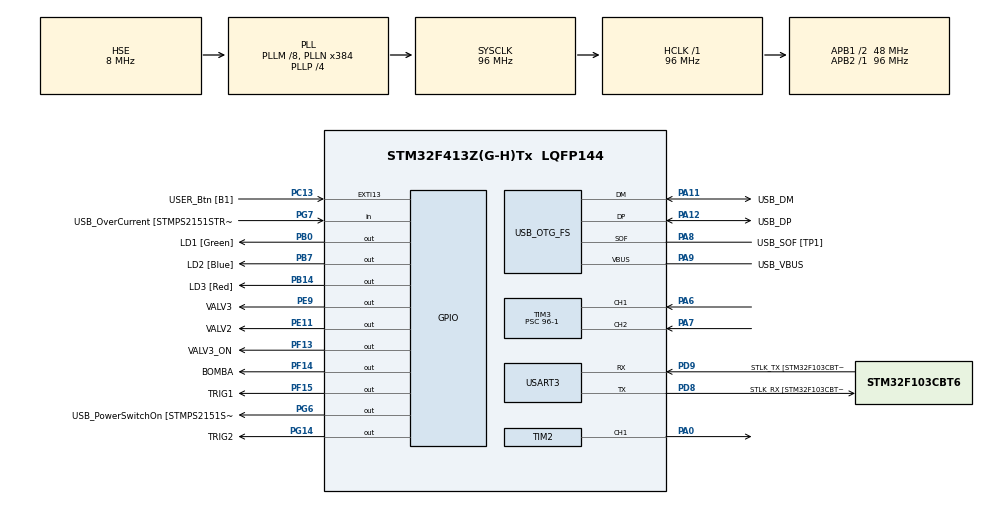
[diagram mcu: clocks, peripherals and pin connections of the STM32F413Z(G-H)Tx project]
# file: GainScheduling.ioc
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Dma.Request0=USART3_RX
Dma.Request1=USART3_TX
Dma.USART3_RX.0.Direction=DMA_PERIPH_TO_MEMORY
Dma.USART3_RX.0.FIFOMode=DMA_FIFOMODE_DISABLE
Dma.USART3_RX.0.Instance=DMA1_Stream1
Dma.USART3_RX.0.MemDataAlignment=DMA_MDATAALIGN_BYTE
Dma.USART3_RX.0.MemInc=DMA_MINC_ENABLE
Dma.USART3_RX.0.Mode=DMA_NORMAL
Dma.USART3_RX.0.PeriphDataAlignment=DMA_PDATAALIGN_BYTE
Dma.USART3_RX.0.PeriphInc=DMA_PINC_DISABLE
Dma.USART3_RX.0.Priority=DMA_PRIORITY_LOW
Dma.USART3_TX.1.Direction=DMA_MEMORY_TO_PERIPH
Dma.USART3_TX.1.FIFOMode=DMA_FIFOMODE_DISABLE
Dma.USART3_TX.1.Instance=DMA1_Stream3
Dma.USART3_TX.1.MemDataAlignment=DMA_MDATAALIGN_BYTE
Dma.USART3_TX.1.MemInc=DMA_MINC_ENABLE
Dma.USART3_TX.1.Mode=DMA_NORMAL
Dma.USART3_TX.1.PeriphDataAlignment=DMA_PDATAALIGN_BYTE
Dma.USART3_TX.1.PeriphInc=DMA_PINC_DISABLE
Dma.USART3_TX.1.Priority=DMA_PRIORITY_LOW
Mcu.Family=STM32F4
Mcu.Name=STM32F413Z(G-H)Tx
Mcu.Package=LQFP144
NVIC.DMA1_Stream1_IRQn=true\:0\:0\:false\:false\:true\:false\:true\:true
NVIC.DMA1_Stream3_IRQn=true\:0\:0\:false\:false\:true\:false\:true\:true
NVIC.PriorityGroup=NVIC_PRIORITYGROUP_4
NVIC.TIM3_IRQn=true\:0\:0\:false\:false\:true\:true\:true\:true
NVIC.USART3_IRQn=true\:0\:0\:false\:false\:true\:true\:true\:true
PA0.Signal=S_TIM2_CH1_ETR
PA10.GPIO_Label=USB_ID
PA10.Signal=USB_OTG_FS_ID
PA11.GPIO_Label=USB_DM
PA11.Mode=Device_Only
PA11.Signal=USB_OTG_FS_DM
PA12.GPIO_Label=USB_DP
PA12.Mode=Device_Only
PA12.Signal=USB_OTG_FS_DP
PA13.GPIO_Label=TMS
PA13.Mode=Serial_Wire
PA13.Signal=SYS_JTMS-SWDIO
PA14.GPIO_Label=TCK
PA14.Mode=Serial_Wire
PA14.Signal=SYS_JTCK-SWCLK
PA6.Signal=S_TIM3_CH1
PA7.Signal=S_TIM3_CH2
PA8.GPIO_Label=USB_SOF [TP1]
PA8.Mode=Activate_SOF_FS
PA8.Signal=USB_OTG_FS_SOF
PA9.GPIO_Label=USB_VBUS
PA9.Mode=Activate_VBUS
PA9.Signal=USB_OTG_FS_VBUS
PB0.GPIO_Label=LD1 [Green]
PB0.Signal=GPIO_Output
PB14.GPIO_Label=LD3 [Red]
PB14.Signal=GPIO_Output
PB3.GPIO_Label=SWO
PB3.Signal=SYS_JTDO-SWO
PB7.GPIO_Label=LD2 [Blue]
PB7.Signal=GPIO_Output
PC13.GPIO_Label=USER_Btn [B1]
PC13.Signal=GPXTI13
PC14-OSC32_IN.Mode=LSE-External-Oscillator
PC14-OSC32_IN.Signal=RCC_OSC32_IN
PC15-OSC32_OUT.Mode=LSE-External-Oscillator
PC15-OSC32_OUT.Signal=RCC_OSC32_OUT
PD8.GPIO_Label=STLK_RX [STM32F103CBT6_PA3]
PD8.Mode=Asynchronous
PD8.Signal=USART3_TX
PD9.GPIO_Label=STLK_TX [STM32F103CBT6_PA2]
PD9.Mode=Asynchronous
PD9.Signal=USART3_RX
PE11.GPIO_Label=VALV2
PE11.Signal=GPIO_Output
PE9.GPIO_Label=VALV3
PE9.Signal=GPIO_Output
PF13.GPIO_Label=VALV3_ON
PF13.Signal=GPIO_Output
PF14.GPIO_Label=BOMBA
PF14.Signal=GPIO_Output
PF15.GPIO_Label=TRIG1
PF15.Signal=GPIO_Output
PG14.GPIO_Label=TRIG2
PG14.Signal=GPIO_Output
PG6.GPIO_Label=USB_PowerSwitchOn [STMPS2151STR_EN]
PG6.Signal=GPIO_Output
PG7.GPIO_Label=USB_OverCurrent [STMPS2151STR_FAULT]
PG7.Signal=GPIO_Input
PH0\ -\ OSC_IN.GPIO_Label=MCO
PH0\ -\ OSC_IN.Mode=HSE-External-Clock-Source
PH0\ -\ OSC_IN.Signal=RCC_OSC_IN
PH1\ -\ OSC_OUT.Mode=HSE-External-Clock-Source
PH1\ -\ OSC_OUT.Signal=RCC_OSC_OUT
ProjectManager.HeapSize=0x200
ProjectManager.StackSize=0x400
ProjectManager.TargetToolchain=STM32CubeIDE
RCC.48MHZClocksFreq_Value=24000000
RCC.AHBFreq_Value=96000000
RCC.APB1CLKDivider=RCC_HCLK_DIV2
RCC.APB1Freq_Value=48000000
RCC.APB1TimFreq_Value=96000000
RCC.APB2Freq_Value=96000000
RCC.APB2TimFreq_Value=96000000
RCC.CortexFreq_Value=96000000
RCC.HCLKFreq_Value=96000000
RCC.HSE_VALUE=8000000
RCC.HSI_VALUE=16000000
RCC.PLLM=8
RCC.PLLMUL=RCC_PLL_MUL9
RCC.PLLN=384
RCC.PLLP=RCC_PLLP_DIV4
RCC.PLLQ=8
RCC.PRESCALERUSB=RCC_USBCLKSOURCE_PLL_DIV1_5
RCC.SYSCLKFreq_VALUE=96000000
RCC.SYSCLKSource=RCC_SYSCLKSOURCE_PLLCLK
RCC.SYSCLKSourceVirtual=RCC_SYSCLKSOURCE_PLLCLK
RCC.USBFreq_Value=48000000
RCC.VCOOutputFreq_Value=384000000
SH.S_TIM2_CH1_ETR.0=TIM2_CH1,PWM Generation1 CH1
SH.S_TIM3_CH1.0=TIM3_CH1,Input_Capture1_from_TI1
SH.S_TIM3_CH2.0=TIM3_CH2,Input_Capture2_from_TI2
TIM2.Channel-PWM\ Generation1\ CH1=TIM_CHANNEL_1
TIM2.Period=1000
TIM2.Prescaler=96-1
TIM2.Pulse-PWM\ Generation1\ CH1=500
TIM3.Channel-Input_Capture1_from_TI1=TIM_CHANNEL_1
TIM3.Channel-Input_Capture2_from_TI2=TIM_CHANNEL_2
TIM3.ICFilter_CH1=4
TIM3.ICFilter_CH2=4
TIM3.Prescaler=96-1
USART3.VirtualMode=VM_ASYNC
USB_OTG_FS.VirtualMode=Device_Only
VP_TIM2_VS_ClockSourceINT.Mode=Internal
VP_TIM3_VS_ClockSourceINT.Mode=Internal
board=NUCLEO-F413ZH

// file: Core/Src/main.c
/* USER CODE BEGIN Header */
/**
  ******************************************************************************
  * @file           : main.c
  * @brief          : Main program body
  ******************************************************************************
  * @attention
  *
  * Copyright (c) 2022 STMicroelectronics.
  * All rights reserved.
  *
  * This software is licensed under terms that can be found in the LICENSE file
  * in the root directory of this software component.
  * If no LICENSE file comes with this software, it is provided AS-IS.
  *
  ******************************************************************************
  */
/* USER CODE END Header */
#include "main.h"

/* USER CODE BEGIN Includes */
#include <stdio.h>
#include <stdlib.h>
#include <math.h>
#include <string.h>

#include "process_signal.h"
#include "pid.h"
#include "state_space.h"
#include "fgs_control.h"
#include "simulated_annealing.h"
#include "A_star.h"
/* USER CODE END Includes */

/* USER CODE BEGIN PD */
#define Ts 1
/* USER CODE END PD */

 TIM_HandleTypeDef htim2;
TIM_HandleTypeDef htim3;

UART_HandleTypeDef huart3;
DMA_HandleTypeDef hdma_usart3_rx;
DMA_HandleTypeDef hdma_usart3_tx;

PCD_HandleTypeDef hpcd_USB_OTG_FS;

/* USER CODE BEGIN PV */
float distancia1 , distancia2;									  // Distance

uint32_t IC1_Val1 = 0, IC2_Val1 = 0; // Input Capture Value1 Channel1 y 2
uint32_t IC1_Val2 = 0, IC2_Val2 = 0; // Input Capture  Value2 Channel1 y 2
uint32_t Difference1 = 0, Difference2 = 0;
uint8_t First_Captured1 = 0, First_Captured2 = 0; // is the first value captured ?

State_Space_s ss1;

pid_s pid1;
pid_s pid2;
pid_s pid3;

fgs_s fgs1;
fgs_s fgs2;
fgs_s fgs3;

sa_s sa1;
sa_s sa2;
sa_s sa3;

Astar_s as1;
Astar_s as2;
Astar_s as3;

/* USER CODE END PV */

void SystemClock_Config(void);
static void MX_GPIO_Init(void);
static void MX_USART3_UART_Init(void);
static void MX_DMA_Init(void);
static void MX_USB_OTG_FS_PCD_Init(void);
static void MX_TIM3_Init(void);
static void MX_TIM2_Init(void);
/* USER CODE BEGIN PFP */
void  serial_printf(char *str);
void  HAL_Delay_us(uint16_t Delay);
float HCSR04_Read(int select);
/* USER CODE END PFP */

/* USER CODE BEGIN 0 */
void serial_printf(char *str)
{
	HAL_UART_Transmit_DMA(&huart3, (uint8_t *) str, strlen(str));
	//HAL_Delay(100);
}
// Delay microseconds;
void HAL_Delay_us(uint16_t Delay)
{
	__HAL_TIM_SET_COUNTER(&htim3,0);
	while (__HAL_TIM_GET_COUNTER(&htim3) < Delay);
}
/* USER CODE END 0 */

int main(void)
{
  /* USER CODE BEGIN 1 */
  char tx_buffer[52] = {0};
  int select_algorithm;
  int iter = 0;
  int Ts_ms = 1000*Ts;
  int time_on;
  int time_giro;
  int retardo = 0;
  int vaciar;
  int M1 = 1;
  int M2 = 1;
  int sum_h1 = 0;
  int sum_h2 = 0;
  float h1=0;
  float h2=0;
  float H1 = 0;
  float H2 = 0;
  float interval[2] = {0,1};
  /* USER CODE END 1 */

  /* MCU Configuration--------------------------------------------------------*/

  /* Reset of all peripherals, Initializes the Flash interface and the Systick. */
  HAL_Init();

  /* Configure the system clock */
  SystemClock_Config();

  /* Initialize all configured peripherals */
  MX_GPIO_Init();
  MX_DMA_Init();
  MX_USART3_UART_Init();
  MX_USB_OTG_FS_PCD_Init();
  MX_TIM3_Init();
  MX_TIM2_Init();
  /* USER CODE BEGIN 2 */
  HAL_TIM_IC_Start_IT(&htim3, TIM_CHANNEL_1);
  HAL_TIM_IC_Start_IT(&htim3, TIM_CHANNEL_2);
  HAL_TIM_PWM_Start(&htim2,TIM_CHANNEL_1);

  PID_Init(&pid1,1);
  PID_Init(&pid2,2);
  PID_Init(&pid3,3);

  FGS_Init(&fgs1, 1);
  FGS_Init(&fgs2, 2);
  FGS_Init(&fgs3, 3);

  SA_Init(&sa1,1);
  SA_Init(&sa2,2);
  SA_Init(&sa3,3);

  Astar_Init(&as1, 1);
  Astar_Init(&as2, 2);
  Astar_Init(&as3, 3);
  /* USER CODE END 2 */

  /* Infinite loop */
  /* USER CODE BEGIN WHILE */

  pid1.r = 0.0;
  pid3.r = 0.0;
  pid2.r = pid3.r - pid1.r;

  vaciar = 1;
  select_algorithm = 0;

  float rbajo = 2;
  float ralto = 5;
  float ralto2 = 8;
  int espacio = 140;

  while (1)
  {
	  sa1.r  = pid1.r ;			  sa2.r  = pid2.r ; 	  sa3.r  = pid3.r ;
	  as1.r =  pid1.r ;			  as2.r =  pid2.r ;	      as3.r =  pid3.r ;

	  /*
	  if (iter == 0)   {    pid1.r = rbajo;		pid3.r = rbajo; }
	  if (iter == 20)  {    pid1.r = ralto ;    pid3.r = ralto ; }
	  if (iter == espacio +20) {    pid1.r = rbajo;      pid3.r = rbajo; }
	  if (iter == espacio*2 +20) {    pid1.r = ralto ;      pid3.r = ralto ;  }
	  if (iter == espacio*3 + 20) {    pid1.r = rbajo;      pid3.r = rbajo; }
	  if (iter == espacio*4 +20) {    pid1.r = ralto ;       pid3.r = ralto ;  }
	  if (iter == espacio*5 +20) {    pid1.r = rbajo;       pid3.r = rbajo;  }
	  if (iter == espacio*6 +20) {    pid1.r = ralto ;       pid3.r = ralto ;  }
	  if (iter == espacio*7 +20) {    pid1.r = rbajo;       pid3.r = rbajo;  }
	  if (iter == espacio*8 +20) {    pid1.r = ralto ;       pid3.r = ralto ;  }
	  if (iter == espacio*9 +20) {    pid1.r = rbajo;       pid3.r = rbajo;  }
	  if (iter == espacio*10 +20) {    pid1.r = ralto ;       pid3.r = ralto ;  }
	  if (iter == espacio*11 +20) {    pid1.r = rbajo;       pid3.r = rbajo;  }
	  if (iter == espacio*12 +20) {    pid1.r = ralto ;       pid3.r = ralto ;  }
	  if (iter == espacio*13 +20) {    pid1.r = rbajo;       pid3.r = rbajo;  }
	  if (iter == espacio*14 +20) {    pid1.r = ralto ;       pid3.r = ralto ;  }
	  if (iter == espacio*15 +20) {    pid1.r = rbajo;       pid3.r = rbajo;  }
	  if (iter == espacio*16 +20) {    pid1.r = ralto ;       pid3.r = ralto ;  }
	  if (iter == espacio*17 +20) {    pid1.r = rbajo;       pid3.r = rbajo;  }
	  if (iter == espacio*18 +20) {    pid1.r = ralto ;       pid3.r = ralto ;  }
	  if (iter == espacio*19 +20) {    pid1.r = rbajo;       pid3.r = rbajo;  }
	  if (iter == espacio*20 +20) {    pid1.r = ralto ;       pid3.r = ralto ;  }
	  if (iter == espacio*21 +20) {    pid1.r = rbajo;       pid3.r = rbajo;  }
	  if (iter == espacio*22 +20) {    pid1.r = ralto ;       pid3.r = ralto ;  }

*/
/*
	  if (iter == 0)   {    pid1.r = rbajo;		pid3.r = 0; }
	  if (iter == 20)  {    pid1.r = ralto ;    pid3.r = 0 ; }
	  if (iter == espacio +20) {    pid1.r = rbajo;      pid3.r = 0; }
	  if (iter == espacio*2 +20) {    pid1.r = ralto ;      pid3.r = 0 ;  }
	  if (iter == espacio*3 + 20) {    pid1.r = rbajo;      pid3.r = 0; }
	  if (iter == espacio*4 +20) {    pid1.r = ralto ;       pid3.r = 0 ;  }
	  if (iter == espacio*5 +20) {    pid1.r = rbajo;       pid3.r = 0;  }
	  if (iter == espacio*6 +20) {    pid1.r = ralto ;       pid3.r = 0 ;  }
	  if (iter == espacio*7 +20) {    pid1.r = rbajo;       pid3.r = 0;  }
	  if (iter == espacio*8 +20) {    pid1.r = ralto ;       pid3.r = 0 ;  }
	  if (iter == espacio*9 +20) {    pid1.r = rbajo;       pid3.r = 0;  }
	  if (iter == espacio*10 +20) {    pid1.r = ralto ;       pid3.r = 0 ;  }
	  if (iter == espacio*11 +20) {    pid1.r = rbajo;       pid3.r = 0;  }
	  if (iter == espacio*12 +20) {    pid1.r = ralto ;       pid3.r = 0 ;  }
	  if (iter == espacio*13 +20) {    pid1.r = rbajo;       pid3.r = 0;  }
	  if (iter == espacio*14 +20) {    pid1.r = ralto ;       pid3.r = 0 ;  }
	  if (iter == espacio*15 +20) {    pid1.r = rbajo;       pid3.r =0;  }
	  if (iter == espacio*16 +20) {    pid1.r = ralto ;       pid3.r = 0 ;  }
	  if (iter == espacio*17 +20) {    pid1.r = rbajo;       pid3.r = 0;  }
	  if (iter == espacio*18 +20) {    pid1.r = ralto ;       pid3.r = 0 ;  }
	  if (iter == espacio*19 +20) {    pid1.r = rbajo;       pid3.r = 0;  }
	  if (iter == espacio*20 +20) {    pid1.r = ralto ;       pid3.r = 0 ;  }
	  if (iter == espacio*21 +20) {    pid1.r = rbajo;       pid3.r = 0;  }
	  if (iter == espacio*22 +20) {    pid1.r = ralto ;       pid3.r = 0 ;  }

*/
	  if (iter == 0)         	{    pid1.r = ralto2;		pid3.r = rbajo; }
	  if (iter == 20)  			{    pid1.r = ralto2 ;    pid3.r = ralto ; }
	  if (iter == espacio +20)	 {    pid1.r = ralto2;      pid3.r = rbajo; }
	  if (iter == espacio*2 +20) {    pid1.r = ralto2;      pid3.r = ralto ;  }
	  if (iter == espacio*3 + 20) {    pid1.r = ralto2;      pid3.r = rbajo; }
	  if (iter == espacio*4 +20) {    pid1.r = ralto2;       pid3.r = ralto ;  }
	  if (iter == espacio*5 +20) {    pid1.r = ralto2;       pid3.r = rbajo;  }
	  if (iter == espacio*6 +20) {    pid1.r = ralto2;       pid3.r = ralto ;  }
	  if (iter == espacio*7 +20) {    pid1.r = ralto2;       pid3.r = rbajo;  }
	  if (iter == espacio*8 +20) {    pid1.r = ralto2;       pid3.r = ralto ;  }
	  if (iter == espacio*9 +20) {    pid1.r = ralto2;       pid3.r = rbajo;  }
	  if (iter == espacio*10 +20) {    pid1.r = ralto2;       pid3.r = ralto ;  }
	  if (iter == espacio*11 +20) {    pid1.r = ralto2;       pid3.r = rbajo;  }
	  if (iter == espacio*12 +20) {    pid1.r = ralto2;       pid3.r = ralto ;  }
	  if (iter == espacio*13 +20) {    pid1.r = ralto2;       pid3.r = rbajo;  }
	  if (iter == espacio*14 +20) {    pid1.r = ralto2;       pid3.r = ralto ;  }
	  if (iter == espacio*15 +20) {    pid1.r = ralto2;       pid3.r = rbajo;  }
	  if (iter == espacio*16 +20) {    pid1.r = ralto2;       pid3.r = ralto ;  }
	  if (iter == espacio*17 +20) {    pid1.r = ralto2;       pid3.r = rbajo;  }
	  if (iter == espacio*18 +20) {    pid1.r = ralto2;       pid3.r = ralto ;  }
	  if (iter == espacio*19 +20) {    pid1.r = ralto2;       pid3.r = rbajo;  }
	  if (iter == espacio*20 +20) {    pid1.r = ralto2;       pid3.r = ralto ;  }
	  if (iter == espacio*21 +20) {    pid1.r = ralto2;       pid3.r = rbajo;  }
	  if (iter == espacio*22 +20) {    pid1.r = ralto2;       pid3.r = ralto ;  }

	  pid2.r = pid3.r-pid1.r;

	  if (iter == 20){sa1.iniciar = 1; sa2.iniciar = 1; sa3.iniciar = 1;}

	  if ( ( (fabs(sa3.r - pid3.r)>0) || (fabs(as3.r - pid3.r)>0) ) && iter != 20 && iter != 0)
	  {
		  /*
		  sa1.r  = ralto;			  sa2.r  = 0 ; 	  sa3.r  = ralto;
		  as1.r =  ralto;			  as2.r =  0 ;	  as3.r =  ralto;
		  */
		  sa1.enable = 1;	sa2.enable = 1;		sa3.enable = 1;
		  as1.enable = 1;	as2.enable = 1;		as3.enable = 1;
	  }

	  if ( vaciar == 1) {
		  	htim2.Instance -> CCR1 = 0;
			HAL_GPIO_WritePin(VALV3_ON_GPIO_Port, VALV3_ON_Pin,GPIO_PIN_SET);
			HAL_GPIO_WritePin(VALV3_GPIO_Port, VALV3_Pin, GPIO_PIN_SET);
			HAL_GPIO_WritePin( BOMBA_GPIO_Port, BOMBA_Pin, GPIO_PIN_RESET);
			HAL_GPIO_WritePin(VALV2_GPIO_Port, VALV2_Pin,GPIO_PIN_RESET);
			int time_vaciar = 0;
			while (time_vaciar < 10000)
			{
				if (time_vaciar % 100 == 0)
				{
					h2 = 25.5 - HCSR04_Read(2);
					h1 = 25.3 - HCSR04_Read(1);
					sprintf(tx_buffer,"%0.2f %0.2f %0.1f %0.1f %0.1f %0.1f %0.1f\r\n",h1, h2, pid1.r, pid3.r,pid1.u, pid2.u,pid3.u);
					serial_printf(tx_buffer);
				}
				HAL_Delay(1);
				time_vaciar++;
			}
			vaciar = 0;
			sprintf(tx_buffer,"H1 H2  Ref1 Ref2/u1 u2 u3 \r\n");
			serial_printf(tx_buffer);
	  }
	  else
	  {
		 HAL_GPIO_WritePin( BOMBA_GPIO_Port, BOMBA_Pin, GPIO_PIN_SET);
		// Medicion de altura de los tanques
	  	h2 = 25.5 - HCSR04_Read(2);
	    h1 = 25.3 - HCSR04_Read(1);
		HAL_Delay(5);
	    // Correcion de medicion de altura
	    h2 = limitar_altura(h2, &M2);
	    h1 = limitar_altura(h1, &M1);
	    // Promedio de medicion de altura.
	    if (M2!= 0){ h2 = (sum_h2+ h2)/M2;}
	    if (M1!= 0){ h1 = (sum_h1+ h1)/M1;}

	    // filtro del valor de las alturas
	    if (iter > 3)
	    {
			 // h1 = fabs(H1-h1) < 6 ? h1 : H1 ;
			  h2 = fabs(H2-h2) < 4 ? h2 : H2 ;
	    }
	    // Guarda el valor de altura para graficar

	    H1 = h1;
	    H2 = h2;
	    // redondeamos un 1 decimal
	    h1 = fround(h1,1);
	    h2 = fround(h2,1);
	  //--------------------------- PID -------------------------------------------------
		// ********* Salidas del sistema ********************
		pid1.y =  h1;   			// VALV1
		pid2.y =  fround(h2-h1,1);	// VALV2
		pid3.y =  h2  ;				// VALV3

		// ***********Señal de error entrada PID ************
		pid1.e[0] = pid1.r - pid1.y ;
		pid2.e[0] = pid2.r - pid2.y ;
		pid3.e[0] = pid3.r - pid3.y ;

		switch (select_algorithm)
		{
		// ***Determinacion de las ganancias FGS-PID ********
		case 1:
			FGS_control(&fgs1, &pid1);
			FGS_control(&fgs2, &pid2);
			FGS_control(&fgs3, &pid3);
			break;
		// ***Determinacion de las ganancias SA-PID ********
		case 2:
			sa1.y[sa1.muestra_i]= pid1.y ;
			sa3.y[sa3.muestra_i]= pid3.y ;
			sa2.y[sa2.muestra_i]= pid2.y ;

			Simulated_Annealing(&sa1, &pid1,Ts);
			Simulated_Annealing(&sa2, &pid2,Ts);
			Simulated_Annealing(&sa3, &pid3,Ts);
			break;
		// ***Determinacion de las ganancias A*-PID ********
		case 3:
			as1.y[as1.muestra_i]= pid1.y;
			as3.y[as3.muestra_i]= pid3.y;
			as2.y[as2.muestra_i]= pid2.y;

			Aestrella(&as1, &pid1,Ts);
			Aestrella(&as2, &pid2,Ts);
			Aestrella(&as3, &pid3,Ts);
			break;
		default:
			break;
		}

		// ************Señal de control *********************
		pid1.u = PID_control(pid1.e,pid1.Gains,Ts);
		pid2.u = PID_control(pid2.e,pid2.Gains,Ts);
		pid3.u = PID_control(pid3.e,pid3.Gains,Ts);

		// ************Señal de control [0 - 1]**************
		pid1.u = saturation(pid1.u,interval);
		pid2.u = saturation(pid2.u,interval);
		pid3.u = saturation(-pid3.u,interval);

		// ************Actualizar e inicia el estado VALVULA 1***********
	    htim2.Instance -> CCR1 = (int) (pid1.u * 750 + 35);
		// ************Define e inicia el estado VALVULA 2***************
	    time_on =  (int)  (pid2.u * Ts_ms);
		HAL_GPIO_WritePin(VALV2_GPIO_Port, VALV2_Pin,GPIO_PIN_RESET);
		HAL_GPIO_WritePin(VALV3_ON_GPIO_Port, VALV3_ON_Pin,GPIO_PIN_SET);
		// *************Define e inicia el estado VALVULA 3 ***************
	    if (pid3.u == 0 )
	    {
		   HAL_GPIO_WritePin(VALV3_GPIO_Port, VALV3_Pin, GPIO_PIN_RESET);
	       time_giro = Ts_ms;
	    }
	    else
	    {
	       HAL_GPIO_WritePin(VALV3_GPIO_Port, VALV3_Pin, GPIO_PIN_SET);
	       time_giro = (int) (pid3.u * Ts_ms + 50);
	    }
	    // ************** Eviar Datos por el puerto serial *********
		sprintf(tx_buffer,"%0.2f %0.2f %0.1f %0.1f %0.1f %0.1f %0.1f\r\n",H1, H2, pid1.r, pid3.r,pid1.u, pid2.u,pid3.u);
		serial_printf(tx_buffer);

	    retardo = 0;
		//Numero de mediciones
		M1 = 1; 			M2 = 1;
	    sum_h1 = 0;	  	sum_h2 = 0;

	    while (retardo < Ts_ms - 5)
	    {
		  // ************* Finaliza el  estado VALVULA 2 ***** ****************
	      if (retardo == time_on )
	      {
				HAL_GPIO_WritePin(VALV2_GPIO_Port, VALV2_Pin, GPIO_PIN_SET);
	      }
	      // ******************************************************************
	      // ***********  Finaliza el  estado VALVULA 3 ***********************
	      if (retardo  > time_giro )
	      {
				HAL_GPIO_WritePin(VALV3_GPIO_Port, VALV3_Pin, GPIO_PIN_RESET);
	      }
	      // ************* Promedio de mediciones de altura *******************
	      if (retardo % 100 == 0)
	      {
			h2 = 25.5 - HCSR04_Read(2);			    M2 ++;
			h1 = 25.3 - HCSR04_Read(1); 			M1 ++;

			h2 = limitar_altura(h2, &M2);
			h1 = limitar_altura(h1, &M1);

			sum_h2 = h2 + sum_h2;
			sum_h1 = h1 + sum_h1;
	      }
	      //************************ Retardo *********************************
	      HAL_Delay(1);     // 1ms retardo
	      retardo++;
	    }
		iter ++;

	  }
    /* USER CODE END WHILE */

  }
}

void SystemClock_Config(void)
{
  RCC_OscInitTypeDef RCC_OscInitStruct = {0};
  RCC_ClkInitTypeDef RCC_ClkInitStruct = {0};

  /** Configure the main internal regulator output voltage
  */
  __HAL_RCC_PWR_CLK_ENABLE();
  __HAL_PWR_VOLTAGESCALING_CONFIG(PWR_REGULATOR_VOLTAGE_SCALE1);

  /** Initializes the RCC Oscillators according to the specified parameters
  * in the RCC_OscInitTypeDef structure.
  */
  RCC_OscInitStruct.OscillatorType = RCC_OSCILLATORTYPE_HSE;
  RCC_OscInitStruct.HSEState = RCC_HSE_BYPASS;
  RCC_OscInitStruct.PLL.PLLState = RCC_PLL_ON;
  RCC_OscInitStruct.PLL.PLLSource = RCC_PLLSOURCE_HSE;
  RCC_OscInitStruct.PLL.PLLM = 8;
  RCC_OscInitStruct.PLL.PLLN = 384;
  RCC_OscInitStruct.PLL.PLLP = RCC_PLLP_DIV4;
  RCC_OscInitStruct.PLL.PLLQ = 8;
  RCC_OscInitStruct.PLL.PLLR = 2;
  if (HAL_RCC_OscConfig(&RCC_OscInitStruct) != HAL_OK)
  {
    Error_Handler();
  }

  /** Initializes the CPU, AHB and APB buses clocks
  */
  RCC_ClkInitStruct.ClockType = RCC_CLOCKTYPE_HCLK|RCC_CLOCKTYPE_SYSCLK
                              |RCC_CLOCKTYPE_PCLK1|RCC_CLOCKTYPE_PCLK2;
  RCC_ClkInitStruct.SYSCLKSource = RCC_SYSCLKSOURCE_PLLCLK;
  RCC_ClkInitStruct.AHBCLKDivider = RCC_SYSCLK_DIV1;
  RCC_ClkInitStruct.APB1CLKDivider = RCC_HCLK_DIV2;
  RCC_ClkInitStruct.APB2CLKDivider = RCC_HCLK_DIV1;

  if (HAL_RCC_ClockConfig(&RCC_ClkInitStruct, FLASH_LATENCY_3) != HAL_OK)
  {
    Error_Handler();
  }
}

static void MX_TIM2_Init(void)
{

  TIM_ClockConfigTypeDef sClockSourceConfig = {0};
  TIM_MasterConfigTypeDef sMasterConfig = {0};
  TIM_OC_InitTypeDef sConfigOC = {0};

  htim2.Instance = TIM2;
  htim2.Init.Prescaler = 96-1;
  htim2.Init.CounterMode = TIM_COUNTERMODE_UP;
  htim2.Init.Period = 1000;
  htim2.Init.ClockDivision = TIM_CLOCKDIVISION_DIV1;
  htim2.Init.AutoReloadPreload = TIM_AUTORELOAD_PRELOAD_DISABLE;
  if (HAL_TIM_Base_Init(&htim2) != HAL_OK)
  {
    Error_Handler();
  }
  sClockSourceConfig.ClockSource = TIM_CLOCKSOURCE_INTERNAL;
  if (HAL_TIM_ConfigClockSource(&htim2, &sClockSourceConfig) != HAL_OK)
  {
    Error_Handler();
  }
  if (HAL_TIM_PWM_Init(&htim2) != HAL_OK)
  {
    Error_Handler();
  }
  sMasterConfig.MasterOutputTrigger = TIM_TRGO_RESET;
  sMasterConfig.MasterSlaveMode = TIM_MASTERSLAVEMODE_DISABLE;
  if (HAL_TIMEx_MasterConfigSynchronization(&htim2, &sMasterConfig) != HAL_OK)
  {
    Error_Handler();
  }
  sConfigOC.OCMode = TIM_OCMODE_PWM1;
  sConfigOC.Pulse = 500;
  sConfigOC.OCPolarity = TIM_OCPOLARITY_HIGH;
  sConfigOC.OCFastMode = TIM_OCFAST_DISABLE;
  if (HAL_TIM_PWM_ConfigChannel(&htim2, &sConfigOC, TIM_CHANNEL_1) != HAL_OK)
  {
    Error_Handler();
  }
  HAL_TIM_MspPostInit(&htim2);

}

static void MX_TIM3_Init(void)
{

  TIM_ClockConfigTypeDef sClockSourceConfig = {0};
  TIM_MasterConfigTypeDef sMasterConfig = {0};
  TIM_IC_InitTypeDef sConfigIC = {0};

  htim3.Instance = TIM3;
  htim3.Init.Prescaler = 96-1;
  htim3.Init.CounterMode = TIM_COUNTERMODE_UP;
  htim3.Init.Period = 65535;
  htim3.Init.ClockDivision = TIM_CLOCKDIVISION_DIV1;
  htim3.Init.AutoReloadPreload = TIM_AUTORELOAD_PRELOAD_DISABLE;
  if (HAL_TIM_Base_Init(&htim3) != HAL_OK)
  {
    Error_Handler();
  }
  sClockSourceConfig.ClockSource = TIM_CLOCKSOURCE_INTERNAL;
  if (HAL_TIM_ConfigClockSource(&htim3, &sClockSourceConfig) != HAL_OK)
  {
    Error_Handler();
  }
  if (HAL_TIM_IC_Init(&htim3) != HAL_OK)
  {
    Error_Handler();
  }
  sMasterConfig.MasterOutputTrigger = TIM_TRGO_RESET;
  sMasterConfig.MasterSlaveMode = TIM_MASTERSLAVEMODE_DISABLE;
  if (HAL_TIMEx_MasterConfigSynchronization(&htim3, &sMasterConfig) != HAL_OK)
  {
    Error_Handler();
  }
  sConfigIC.ICPolarity = TIM_INPUTCHANNELPOLARITY_RISING;
  sConfigIC.ICSelection = TIM_ICSELECTION_DIRECTTI;
  sConfigIC.ICPrescaler = TIM_ICPSC_DIV1;
  sConfigIC.ICFilter = 4;
  if (HAL_TIM_IC_ConfigChannel(&htim3, &sConfigIC, TIM_CHANNEL_1) != HAL_OK)
  {
    Error_Handler();
  }
  if (HAL_TIM_IC_ConfigChannel(&htim3, &sConfigIC, TIM_CHANNEL_2) != HAL_OK)
  {
    Error_Handler();
  }

}

static void MX_USART3_UART_Init(void)
{

  huart3.Instance = USART3;
  huart3.Init.BaudRate = 115200;
  huart3.Init.WordLength = UART_WORDLENGTH_8B;
  huart3.Init.StopBits = UART_STOPBITS_1;
  huart3.Init.Parity = UART_PARITY_NONE;
  huart3.Init.Mode = UART_MODE_TX_RX;
  huart3.Init.HwFlowCtl = UART_HWCONTROL_NONE;
  huart3.Init.OverSampling = UART_OVERSAMPLING_16;
  if (HAL_UART_Init(&huart3) != HAL_OK)
  {
    Error_Handler();
  }

}

static void MX_USB_OTG_FS_PCD_Init(void)
{

  hpcd_USB_OTG_FS.Instance = USB_OTG_FS;
  hpcd_USB_OTG_FS.Init.dev_endpoints = 6;
  hpcd_USB_OTG_FS.Init.speed = PCD_SPEED_FULL;
  hpcd_USB_OTG_FS.Init.dma_enable = DISABLE;
  hpcd_USB_OTG_FS.Init.phy_itface = PCD_PHY_EMBEDDED;
  hpcd_USB_OTG_FS.Init.Sof_enable = ENABLE;
  hpcd_USB_OTG_FS.Init.low_power_enable = DISABLE;
  hpcd_USB_OTG_FS.Init.lpm_enable = DISABLE;
  hpcd_USB_OTG_FS.Init.battery_charging_enable = ENABLE;
  hpcd_USB_OTG_FS.Init.vbus_sensing_enable = ENABLE;
  hpcd_USB_OTG_FS.Init.use_dedicated_ep1 = DISABLE;
  if (HAL_PCD_Init(&hpcd_USB_OTG_FS) != HAL_OK)
  {
    Error_Handler();
  }

}

static void MX_DMA_Init(void)
{

  /* DMA controller clock enable */
  __HAL_RCC_DMA1_CLK_ENABLE();

  /* DMA interrupt init */
  /* DMA1_Stream1_IRQn interrupt configuration */
  HAL_NVIC_SetPriority(DMA1_Stream1_IRQn, 0, 0);
  HAL_NVIC_EnableIRQ(DMA1_Stream1_IRQn);
  /* DMA1_Stream3_IRQn interrupt configuration */
  HAL_NVIC_SetPriority(DMA1_Stream3_IRQn, 0, 0);
  HAL_NVIC_EnableIRQ(DMA1_Stream3_IRQn);

}

static void MX_GPIO_Init(void)
{
  GPIO_InitTypeDef GPIO_InitStruct = {0};

  /* GPIO Ports Clock Enable */
  __HAL_RCC_GPIOC_CLK_ENABLE();
  __HAL_RCC_GPIOH_CLK_ENABLE();
  __HAL_RCC_GPIOA_CLK_ENABLE();
  __HAL_RCC_GPIOB_CLK_ENABLE();
  __HAL_RCC_GPIOF_CLK_ENABLE();
  __HAL_RCC_GPIOE_CLK_ENABLE();
  __HAL_RCC_GPIOD_CLK_ENABLE();
  __HAL_RCC_GPIOG_CLK_ENABLE();

  /*Configure GPIO pin Output Level */
  HAL_GPIO_WritePin(GPIOB, LD1_Pin|LD3_Pin|LD2_Pin, GPIO_PIN_RESET);

  /*Configure GPIO pin Output Level */
  HAL_GPIO_WritePin(GPIOF, VALV3_ON_Pin|BOMBA_Pin|TRIG1_Pin, GPIO_PIN_RESET);

  /*Configure GPIO pin Output Level */
  HAL_GPIO_WritePin(GPIOE, VALV3_Pin|VALV2_Pin, GPIO_PIN_RESET);

  /*Configure GPIO pin Output Level */
  HAL_GPIO_WritePin(GPIOG, USB_PowerSwitchOn_Pin|TRIG2_Pin, GPIO_PIN_RESET);

  /*Configure GPIO pin : USER_Btn_Pin */
  GPIO_InitStruct.Pin = USER_Btn_Pin;
  GPIO_InitStruct.Mode = GPIO_MODE_IT_RISING;
  GPIO_InitStruct.Pull = GPIO_NOPULL;
  HAL_GPIO_Init(USER_Btn_GPIO_Port, &GPIO_InitStruct);

  /*Configure GPIO pins : LD1_Pin LD3_Pin LD2_Pin */
  GPIO_InitStruct.Pin = LD1_Pin|LD3_Pin|LD2_Pin;
  GPIO_InitStruct.Mode = GPIO_MODE_OUTPUT_PP;
  GPIO_InitStruct.Pull = GPIO_NOPULL;
  GPIO_InitStruct.Speed = GPIO_SPEED_FREQ_LOW;
  HAL_GPIO_Init(GPIOB, &GPIO_InitStruct);

  /*Configure GPIO pins : VALV3_ON_Pin BOMBA_Pin TRIG1_Pin */
  GPIO_InitStruct.Pin = VALV3_ON_Pin|BOMBA_Pin|TRIG1_Pin;
  GPIO_InitStruct.Mode = GPIO_MODE_OUTPUT_PP;
  GPIO_InitStruct.Pull = GPIO_NOPULL;
  GPIO_InitStruct.Speed = GPIO_SPEED_FREQ_LOW;
  HAL_GPIO_Init(GPIOF, &GPIO_InitStruct);

  /*Configure GPIO pins : VALV3_Pin VALV2_Pin */
  GPIO_InitStruct.Pin = VALV3_Pin|VALV2_Pin;
  GPIO_InitStruct.Mode = GPIO_MODE_OUTPUT_PP;
  GPIO_InitStruct.Pull = GPIO_NOPULL;
  GPIO_InitStruct.Speed = GPIO_SPEED_FREQ_LOW;
  HAL_GPIO_Init(GPIOE, &GPIO_InitStruct);

  /*Configure GPIO pins : USB_PowerSwitchOn_Pin TRIG2_Pin */
  GPIO_InitStruct.Pin = USB_PowerSwitchOn_Pin|TRIG2_Pin;
  GPIO_InitStruct.Mode = GPIO_MODE_OUTPUT_PP;
  GPIO_InitStruct.Pull = GPIO_NOPULL;
  GPIO_InitStruct.Speed = GPIO_SPEED_FREQ_LOW;
  HAL_GPIO_Init(GPIOG, &GPIO_InitStruct);

  /*Configure GPIO pin : USB_OverCurrent_Pin */
  GPIO_InitStruct.Pin = USB_OverCurrent_Pin;
  GPIO_InitStruct.Mode = GPIO_MODE_INPUT;
  GPIO_InitStruct.Pull = GPIO_NOPULL;
  HAL_GPIO_Init(USB_OverCurrent_GPIO_Port, &GPIO_InitStruct);

}

/* USER CODE BEGIN 4 */
//Input Capture callback in non blocking mode.
void HAL_TIM_IC_CaptureCallback( TIM_HandleTypeDef *htim){

	if (htim->Channel == HAL_TIM_ACTIVE_CHANNEL_2 )
	{
		if(First_Captured2 == 0){
			IC2_Val1 = HAL_TIM_ReadCapturedValue(htim, TIM_CHANNEL_2); // if the interrupt source is channel2
			First_Captured2 = 1; 									   // set the first captured as true
			__HAL_TIM_SET_CAPTUREPOLARITY(htim, TIM_CHANNEL_2,TIM_INPUTCHANNELPOLARITY_FALLING);
			__HAL_TIM_DISABLE_IT(htim, TIM_IT_CC2);

		}
		else if(First_Captured2 == 1){
			IC2_Val2 = HAL_TIM_ReadCapturedValue(htim, TIM_CHANNEL_2);
			__HAL_TIM_SET_COUNTER(htim,0);

			if (IC2_Val2 > IC2_Val1){
				Difference2 = IC2_Val2 - IC2_Val1;
			}
			else if(IC2_Val1 > IC2_Val2){
				Difference2 = (65535 - IC2_Val1) +  IC2_Val2 ;
			}
			 distancia2 = (float) Difference2 * 0.034 /2 ;
			 First_Captured2 = 0;  // set it back to false

			// set polarity to rising edge
			__HAL_TIM_SET_CAPTUREPOLARITY(htim, TIM_CHANNEL_2,TIM_INPUTCHANNELPOLARITY_RISING);
			__HAL_TIM_DISABLE_IT(htim, TIM_IT_CC2);
		}

	}
	if (htim->Channel == HAL_TIM_ACTIVE_CHANNEL_1 )
	{
		if(First_Captured1 == 0){
			IC1_Val1 = HAL_TIM_ReadCapturedValue(htim, TIM_CHANNEL_1); // if the interrupt source is channel1
			First_Captured1 = 1; 									   // set the first captured as true
			// Now change the polarity to falling edge
			__HAL_TIM_SET_CAPTUREPOLARITY(htim, TIM_CHANNEL_1,TIM_INPUTCHANNELPOLARITY_FALLING);
			__HAL_TIM_DISABLE_IT(htim, TIM_IT_CC1);

		}
		else if(First_Captured1 == 1){
			IC1_Val2 = HAL_TIM_ReadCapturedValue(htim, TIM_CHANNEL_1); // read second value
			__HAL_TIM_SET_COUNTER(htim,0); // reset the counter

			if ( IC1_Val2 > IC1_Val1 )
			{
				Difference1 = IC1_Val2-IC1_Val1;
			}
			else if ( IC1_Val1 > IC1_Val2 )
			{
				Difference1 = (65535 - IC1_Val1) +  IC1_Val2;
			}
			 distancia1 = (float) Difference1 * 0.034 / 2;
			 First_Captured1 = 0;  // set it back to false

			// set polarity to rising edge
			__HAL_TIM_SET_CAPTUREPOLARITY(htim, TIM_CHANNEL_1,TIM_INPUTCHANNELPOLARITY_RISING);
			__HAL_TIM_DISABLE_IT(htim, TIM_IT_CC1);
		}

	}

}

float HCSR04_Read(int select)
{
	float distancia;
	if (select == 1)
	{
	  HAL_GPIO_WritePin(TRIG1_GPIO_Port, TRIG1_Pin, GPIO_PIN_SET);
	  HAL_Delay_us(10);
	  HAL_GPIO_WritePin(TRIG1_GPIO_Port, TRIG1_Pin, GPIO_PIN_RESET);
	  __HAL_TIM_ENABLE_IT(&htim3, TIM_IT_CC1);
	  distancia =  distancia1 ;
	}
	else if(select == 2)
	{
	  HAL_GPIO_WritePin(TRIG2_GPIO_Port, TRIG2_Pin, GPIO_PIN_SET);
	  HAL_Delay_us(10);
	  HAL_GPIO_WritePin(TRIG2_GPIO_Port, TRIG2_Pin, GPIO_PIN_RESET);
	  __HAL_TIM_ENABLE_IT(&htim3, TIM_IT_CC2);
	  distancia = distancia2 ;
	}
	return distancia;
}

/* USER CODE END 4 */

void Error_Handler(void)
{
  __disable_irq();
  while (1)
  {
  }
}
